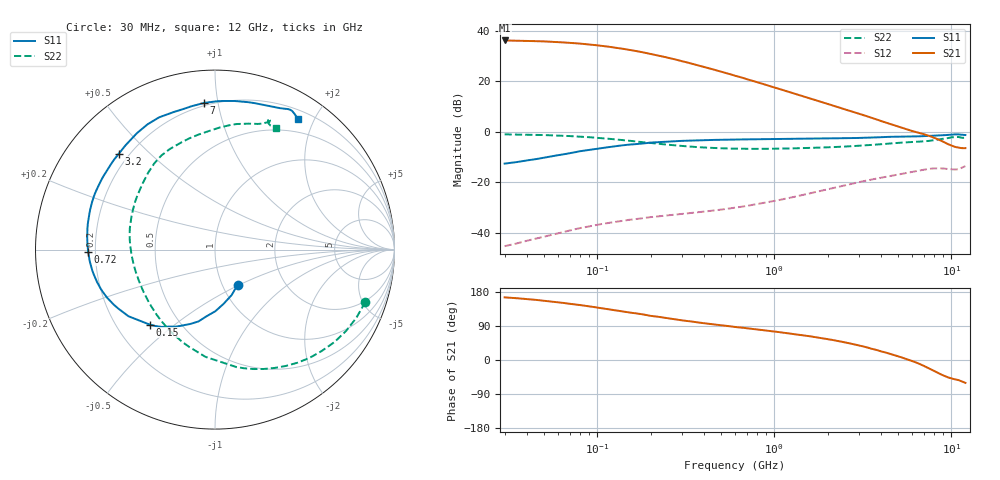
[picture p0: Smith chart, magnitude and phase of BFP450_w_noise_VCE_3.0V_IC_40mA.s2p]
! (c) 2015  Infineon Technologies AG, Munich
! Infineon Technologies  Discrete & RF Semiconductors
! BFP450
! VCE =  3.0 V,  IC =  40 mA
! Common Emitter S-Parameters:  Nov 2015
# GHz  S  MA  R  50
!  f  S11  S21  S12  S22
! GHz  MAG  ANG  MAG  ANG  MAG  ANG  MAG  ANG
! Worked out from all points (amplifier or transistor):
!   239 points, 30 MHz to 12 GHz, reference 50 ohm
!   highest |S21| = 36.2 dB at 30 MHz (marker M1)
!   |S21| within 3 dB of that: start of sweep to 130.9 MHz
!   unconditionally stable (mu >= 1): 1.282 GHz to end of sweep
!   at 300 MHz: K = 0.48, MSG = 30.3 dB, |S12| = -32.6 dB
!   at 1.88 GHz: K = 1.08, MAG = 15.7 dB, |S12| = -23.2 dB
!   at 12 GHz: K = 1.09, MAG = 1.7 dB, |S12| = -13.6 dB
!   lowest NFmin = 1.41 dB at 450 MHz
!   S11 on the Smith chart (normalised r, x): 30 MHz: 1.18, -0.49; 150 MHz: 0.34, -0.41; 720 MHz: 0.17, -0.01; 3.2 GHz: 0.16, +0.40; 7 GHz: 0.18, +0.91; 12 GHz: 0.32, +1.78
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0.03  0.2335 -57.5  64.36 165.3  0.0054 76.0  0.8866 -19.3
0.04  0.2696 -69.8  63.12 160.9  0.0069 72.8  0.8747 -25.7
0.05  0.3058 -81.0  61.69 156.4  0.0083 71.4  0.8597 -31.8
0.06  0.3426 -89.5  59.78 152.5  0.0097 68.0  0.8415 -37.8
0.07  0.3754 -97.4  57.75 148.3  0.0111 64.4  0.8203 -43.5
0.085  0.4233 -105.8  54.67 143.3  0.0128 61.7  0.7891 -51.5
0.11  0.4826 -117.2  49.59 135.5  0.0152 56.6  0.7377 -63.4
0.13  0.5233 -124.6  45.72 130.3  0.0166 53.6  0.7001 -71.9
0.15  0.5538 -131.0  42.21 125.6  0.0179 51.2  0.6664 -79.5
0.2  0.6086 -142.4  34.74 116.5  0.0203 47.0  0.5998 -95.1
0.24  0.6314 -148.7  30.35 111.5  0.0217 45.4  0.5613 -104.7
0.3  0.659 -156.2  25.06 104.7  0.0235 44.3  0.5232 -117.1
0.36  0.674 -161.5  21.29 100.0  0.0251 44.1  0.4987 -126.4
0.45  0.6881 -167.7  17.19 94.2  0.0274 44.6  0.4773 -137.3
0.6  0.7012 -174.8  12.89 87.2  0.0312 46.4  0.4622 -150.0
0.72  0.7066 -178.9  10.7 83.0  0.0345 47.9  0.4584 -157.3
1  0.7169 173.3  7.528 75.1  0.0424 49.7  0.4608 -169.8
1.64  0.7325 160.3  4.419 61.7  0.0617 48.9  0.4799 172.0
3.2  0.7567 135.1  2.126 35.5  0.105 35.2  0.5335 142.2
4.5  0.7929 118.2  1.421 16.2  0.1321 22.4  0.5877 125.1
7  0.8196 94.2  0.893 -15.7  0.1774 -2.2  0.6461 98.7
12  0.8604 57.5  0.473 -60.3  0.2079 -40.6  0.7588 63.6
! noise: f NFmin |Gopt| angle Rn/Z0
0.45  1.41  0.49  -173  0.06
0.9  1.48  0.51  -169  0.07
1.9  1.59  0.57  -153  0.1
2.4  1.69  0.58  -145  0.12
